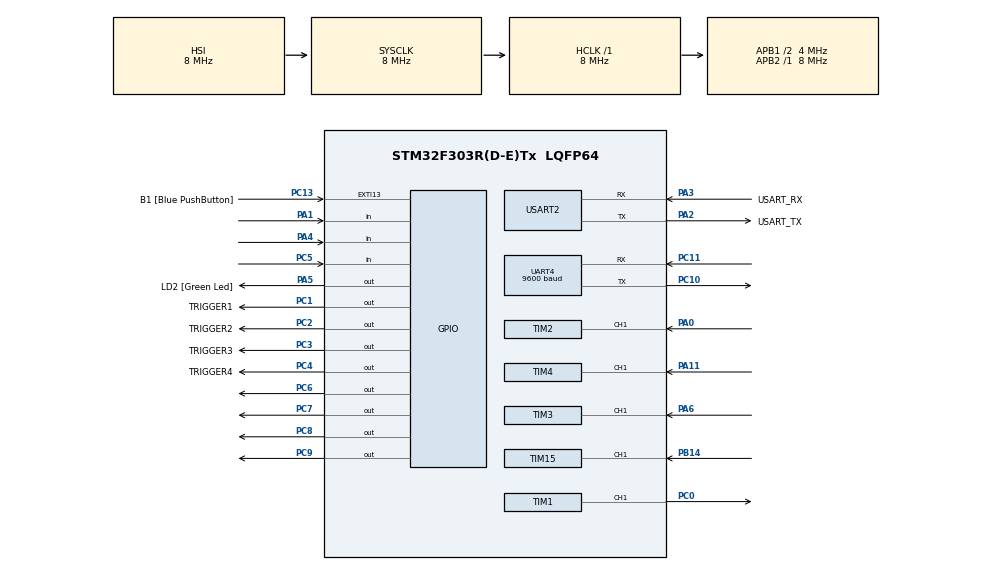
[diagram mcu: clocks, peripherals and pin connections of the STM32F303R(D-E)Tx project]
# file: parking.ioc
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Mcu.Family=STM32F3
Mcu.Name=STM32F303R(D-E)Tx
Mcu.Package=LQFP64
NVIC.PriorityGroup=NVIC_PRIORITYGROUP_0
NVIC.TIM1_BRK_TIM15_IRQn=true\:0\:0\:false\:false\:true\:true\:true\:true
NVIC.TIM2_IRQn=true\:0\:0\:false\:false\:true\:true\:true\:true
NVIC.TIM3_IRQn=true\:0\:0\:false\:false\:true\:true\:true\:true
NVIC.TIM4_IRQn=true\:0\:0\:false\:false\:true\:true\:true\:true
PA0.Signal=S_TIM2_CH1_ETR
PA1.Signal=GPIO_Input
PA11.Signal=S_TIM4_CH1
PA13.GPIO_Label=TMS
PA13.Mode=Serial_Wire
PA13.Signal=SYS_JTMS-SWDIO
PA14.GPIO_Label=TCK
PA14.Mode=Serial_Wire
PA14.Signal=SYS_JTCK-SWCLK
PA2.GPIO_Label=USART_TX
PA2.GPIO_Mode=GPIO_MODE_AF_PP
PA2.GPIO_PuPd=GPIO_NOPULL
PA2.GPIO_Speed=GPIO_SPEED_FREQ_LOW
PA2.Mode=Asynchronous
PA2.Signal=USART2_TX
PA3.GPIO_Label=USART_RX
PA3.GPIO_Mode=GPIO_MODE_AF_PP
PA3.GPIO_PuPd=GPIO_NOPULL
PA3.GPIO_Speed=GPIO_SPEED_FREQ_LOW
PA3.Mode=Asynchronous
PA3.Signal=USART2_RX
PA4.Signal=GPIO_Input
PA5.GPIO_Label=LD2 [Green Led]
PA5.GPIO_Mode=GPIO_MODE_OUTPUT_PP
PA5.GPIO_PuPd=GPIO_NOPULL
PA5.GPIO_Speed=GPIO_SPEED_FREQ_LOW
PA5.Signal=GPIO_Output
PA6.Signal=S_TIM3_CH1
PB14.Signal=S_TIM15_CH1
PB3.GPIO_Label=SWO
PB3.Signal=SYS_JTDO-TRACESWO
PC0.Signal=S_TIM1_CH1
PC1.GPIO_Label=TRIGGER1
PC1.Signal=GPIO_Output
PC10.Mode=Asynchronous
PC10.Signal=UART4_TX
PC11.Mode=Asynchronous
PC11.Signal=UART4_RX
PC13.GPIO_Label=B1 [Blue PushButton]
PC13.GPIO_ModeDefaultEXTI=GPIO_MODE_IT_FALLING
PC13.Signal=GPXTI13
PC14-OSC32_IN.Mode=LSE-External-Oscillator
PC14-OSC32_IN.Signal=RCC_OSC32_IN
PC15-OSC32_OUT.Mode=LSE-External-Oscillator
PC15-OSC32_OUT.Signal=RCC_OSC32_OUT
PC2.GPIO_Label=TRIGGER2
PC2.Signal=GPIO_Output
PC3.GPIO_Label=TRIGGER3
PC3.Signal=GPIO_Output
PC4.GPIO_Label=TRIGGER4
PC4.Signal=GPIO_Output
PC5.Signal=GPIO_Input
PC6.Signal=GPIO_Output
PC7.Signal=GPIO_Output
PC8.Signal=GPIO_Output
PC9.Signal=GPIO_Output
PF0-OSC_IN.Mode=HSE-External-Clock-Source
PF0-OSC_IN.Signal=RCC_OSC_IN
PF1-OSC_OUT.Signal=RCC_OSC_OUT
ProjectManager.HeapSize=0x200
ProjectManager.StackSize=0x400
ProjectManager.TargetToolchain=STM32CubeIDE
RCC.AHBFreq_Value=8000000
RCC.APB1CLKDivider=RCC_HCLK_DIV2
RCC.APB1Freq_Value=4000000
RCC.APB1TimFreq_Value=8000000
RCC.APB2Freq_Value=8000000
RCC.APB2TimFreq_Value=8000000
RCC.CortexFreq_Value=8000000
RCC.HCLKFreq_Value=8000000
RCC.HSE_VALUE=8000000
RCC.HSI_VALUE=8000000
RCC.PLLM=8
RCC.PLLMUL=RCC_PLL_MUL9
RCC.PLLN=336
RCC.PLLP=RCC_PLLP_DIV4
RCC.PLLQ=7
RCC.RCC_PLLsource_Clock_Source_FROM_HSE=RCC_HSE_PREDIV_DIV2
RCC.SYSCLKFreq_VALUE=8000000
RCC.USBFreq_Value=72000000
SH.S_TIM15_CH1.0=TIM15_CH1,Input_Capture1_from_TI1
SH.S_TIM1_CH1.0=TIM1_CH1,PWM Generation1 CH1
SH.S_TIM2_CH1_ETR.0=TIM2_CH1,Input_Capture1_from_TI1
SH.S_TIM3_CH1.0=TIM3_CH1,Input_Capture1_from_TI1
SH.S_TIM4_CH1.0=TIM4_CH1,Input_Capture1_from_TI1
TIM1.Channel-PWM\ Generation1\ CH1=TIM_CHANNEL_1
TIM1.OCFastMode_PWM-PWM\ Generation1\ CH1=TIM_OCFAST_ENABLE
TIM1.Period=100
TIM1.Prescaler=7
TIM1.Pulse-PWM\ Generation1\ CH1=20
TIM15.Channel-Input_Capture1_from_TI1=TIM_CHANNEL_1
TIM15.ICPolarity_CH1=TIM_INPUTCHANNELPOLARITY_BOTHEDGE
TIM15.Prescaler=7
TIM2.Channel-Input_Capture1_from_TI1=TIM_CHANNEL_1
TIM2.ICPolarity_CH1=TIM_INPUTCHANNELPOLARITY_BOTHEDGE
TIM2.Period=65535
TIM2.Prescaler=7
TIM3.Channel-Input_Capture1_from_TI1=TIM_CHANNEL_1
TIM3.ICPolarity_CH1=TIM_INPUTCHANNELPOLARITY_BOTHEDGE
TIM3.Prescaler=7
TIM4.Channel-Input_Capture1_from_TI1=TIM_CHANNEL_1
TIM4.ICPolarity_CH1=TIM_INPUTCHANNELPOLARITY_BOTHEDGE
TIM4.Prescaler=7
UART4.BaudRate=9600
UART4.OverSampling=UART_OVERSAMPLING_8
USART2.VirtualMode-Asynchronous=VM_ASYNC
VP_TIM15_VS_ClockSourceINT.Mode=Internal
VP_TIM1_VS_ClockSourceINT.Mode=Internal
VP_TIM2_VS_ClockSourceINT.Mode=Internal
VP_TIM3_VS_ClockSourceINT.Mode=Internal
VP_TIM4_VS_ClockSourceINT.Mode=Internal
board=NUCLEO-F303RE

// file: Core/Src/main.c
/* USER CODE BEGIN Header */
/**
 ******************************************************************************
 * @file           : main.c
 * @brief          : Main program body
 ******************************************************************************
 * @attention
 *
 * Copyright (c) 2023 STMicroelectronics.
 * All rights reserved.
 *
 * This software is licensed under terms that can be found in the LICENSE file
 * in the root directory of this software component.
 * If no LICENSE file comes with this software, it is provided AS-IS.
 *
 ******************************************************************************
 */
/* USER CODE END Header */
#include "main.h"
#include "tim.h"
#include "usart.h"
#include "gpio.h"

/* USER CODE BEGIN Includes */
#include "DC_MOTOR.h"
/* USER CODE END Includes */

void SystemClock_Config(void);

/* USER CODE BEGIN 0 */
uint8_t count[4];
uint16_t t1[4];
uint16_t t2[4];
uint16_t diff[4];
uint16_t d[4];
uint16_t trig_flag=0;
void HAL_TIM_IC_CaptureCallback(TIM_HandleTypeDef *htim)	// ISR for timer1
{
	//	HAL_GPIO_TogglePin(GPIOA, GPIO_PIN_5);
	if (htim->Instance == TIM2) {
		// Check if the callback is triggered by the correct timer (TIMx)
		if (htim->Channel == HAL_TIM_ACTIVE_CHANNEL_1) {
			// Check if the callback is triggered by the correct channel (x)
			if(count[0] == 0)
			{
				t1[0]=HAL_TIM_ReadCapturedValue(htim, TIM_CHANNEL_1);
				count[0]=1;
			}
			else if(count[0] == 1)
			{
				t2[0]=HAL_TIM_ReadCapturedValue(htim, TIM_CHANNEL_1);
				count[0]=0;
				if(t2[0]>t1[0])
				{
					diff[0]=t2[0]-t1[0];
				}
				else if(t1[0]>t2[0])
				{
					diff[0] = ((0xffff-t1[0])+t2[0])+1;
				}
				d[0]=diff[0]/58;
			}
			// Your code here for handling the IC event on the specified timer and channel
		}
	}
	else if (htim->Instance == TIM3) {
		// Check if the callback is triggered by the correct timer (TIMx)

		if (htim->Channel == HAL_TIM_ACTIVE_CHANNEL_1) {
			// Check if the callback is triggered by the correct channel (x)
			if(count[1] == 0)
			{
				t1[1]=HAL_TIM_ReadCapturedValue(htim, TIM_CHANNEL_1);
				count[1]=1;
			}
			else if(count[1] == 1)
			{
				t2[1]=HAL_TIM_ReadCapturedValue(htim, TIM_CHANNEL_1);
				count[1]=0;
				if(t2[1]>t1[1])
				{
					diff[1]=t2[1]-t1[1];
				}
				else if(t1[1]>t2[1])
				{
					diff[1] = ((0xffff-t1[1])+t2[1])+1;
				}
				d[1]=diff[1]/58;
			}
			// Your code here for handling the IC event on the specified timer and channel
		}
	}
	else if (htim->Instance == TIM4) {
		// Check if the callback is triggered by the correct timer (TIMx)
		HAL_GPIO_TogglePin(GPIOA, GPIO_PIN_5);
		if (htim->Channel == HAL_TIM_ACTIVE_CHANNEL_1) {
			// Check if the callback is triggered by the correct channel (x)
			if(count[2] == 0)
			{
				t1[2]=HAL_TIM_ReadCapturedValue(htim, TIM_CHANNEL_1);
				count[2]=1;
			}
			else if(count[2] == 1)
			{
				t2[2]=HAL_TIM_ReadCapturedValue(htim, TIM_CHANNEL_1);
				count[2]=0;
				if(t2[2]>t1[2])
				{
					diff[2]=t2[2]-t1[2];
				}
				else if(t1[2]>t2[2])
				{
					diff[2] = ((0xffff-t1[2])+t2[2])+1;
				}
				d[2]=diff[2]/58;
			}
			// Your code here for handling the IC event on the specified timer and channel
		}
	}
	else if (htim->Instance == TIM15) {
		// Check if the callback is triggered by the correct timer (TIMx)

		if (htim->Channel == HAL_TIM_ACTIVE_CHANNEL_1) {
			// Check if the callback is triggered by the correct channel (x)
			if(count[3] == 0)
			{
				t1[3]=HAL_TIM_ReadCapturedValue(htim, TIM_CHANNEL_1);
				count[3]=1;
			}
			else if(count[3] == 1)
			{
				t2[3]=HAL_TIM_ReadCapturedValue(htim, TIM_CHANNEL_1);
				count[3]=0;
				if(t2[3]>t1[3])
				{
					diff[3]=t2[3]-t1[3];
				}
				else if(t1[3]>t2[3])
				{
					diff[3] = ((0xffff-t1[3])+t2[3])+1;
				}
				d[3]=diff[3]/58;
			}
			// Your code here for handling the IC event on the specified timer and channel
		}
	}

	//	c++;
	//	HAL_GPIO_TogglePin(GPIOA, GPIO_PIN_5);
	//	if(count == 0)
	//	{
	//		t1=HAL_TIM_ReadCapturedValue(htim, TIM_CHANNEL_1);
	//		count=1;
	//	}
	//	else if(count == 1)
	//	{
	//		t2=HAL_TIM_ReadCapturedValue(htim, TIM_CHANNEL_1);
	//		count=0;
	//		if(t2>t1)
	//		{
	//			diff=t2-t1;
	//		}
	//		else if(t1>t2)
	//		{
	//			diff = ((0xffff-t1)+t2)+1;
	//		}
	//		d[3]=diff/58;
	//		//d[0]=diff/58;
	//		trig_flag++;
	//	}
}

void Ultrasonic_Runable(void)
{
	if(trig_flag==0)
	{
		HAL_GPIO_WritePin(TRIGGER1_GPIO_Port,TRIGGER1_Pin , GPIO_PIN_SET);
		HAL_Delay(1);
		HAL_GPIO_WritePin(TRIGGER1_GPIO_Port,TRIGGER1_Pin, GPIO_PIN_RESET);
		trig_flag=1;
	}
	else if(trig_flag==1)
	{
		HAL_GPIO_WritePin(TRIGGER2_GPIO_Port,TRIGGER2_Pin , GPIO_PIN_SET);
		HAL_Delay(1);
		HAL_GPIO_WritePin(TRIGGER2_GPIO_Port,TRIGGER2_Pin, GPIO_PIN_RESET);
		trig_flag=2;
	}
	else if(trig_flag==2)
	{
		HAL_GPIO_WritePin(TRIGGER3_GPIO_Port,TRIGGER3_Pin , GPIO_PIN_SET);
		HAL_Delay(1);
		HAL_GPIO_WritePin(TRIGGER3_GPIO_Port,TRIGGER3_Pin, GPIO_PIN_RESET);
		trig_flag=3;
	}
	else if(trig_flag==3)
	{
		HAL_GPIO_WritePin(TRIGGER4_GPIO_Port,TRIGGER4_Pin , GPIO_PIN_SET);
		HAL_Delay(1);
		HAL_GPIO_WritePin(TRIGGER4_GPIO_Port,TRIGGER4_Pin, GPIO_PIN_RESET);
		trig_flag=0;
	}
	HAL_Delay(15);
}
uint16_t Ultrasonic_Getter(uint8_t ultrasonic_N)
{
	if(ultrasonic_N<4)
	{
		return d[ultrasonic_N];
	}
	return 0;
}

void send_distance(void)
{
	uint8_t x10='1';
	HAL_UART_Transmit(&huart4,&x10,sizeof(x10),20);
	uint8_t x11='.';
	HAL_UART_Transmit(&huart4,&x11,sizeof(x11),20);
	uint16_t N=55;
	N=d[0];
	while(N)
	{
		uint8_t d=(N%10)+'0';
		HAL_UART_Transmit(&huart4, &d,sizeof(d),20);
		N=N/10;
	}
	uint8_t x='_';
	HAL_UART_Transmit(&huart4, &x,sizeof(x),20);
	/////////////////////////////////////
	uint8_t x2='2';
	HAL_UART_Transmit(&huart4,&x2,sizeof(x),20);
	uint8_t x3='.';
	HAL_UART_Transmit(&huart4,&x3,sizeof(x),20);
	uint16_t N1=55;
	N1=d[1];
	while(N1)
	{
		uint8_t d1=(N1%10)+'0';
		HAL_UART_Transmit(&huart4, &d1,sizeof(d1),20);
		N1=N1/10;
	}
	uint8_t x1='_';
	HAL_UART_Transmit(&huart4, &x1,sizeof(x),20);

	////////////////////////////////////////////////
	uint8_t x4='3';
	HAL_UART_Transmit(&huart4,&x4,sizeof(x),20);
	uint8_t x5='.';
	HAL_UART_Transmit(&huart4,&x5,sizeof(x),20);
	uint16_t N2=55;
	N2=d[2];
	while(N2)
	{
		uint8_t d2=(N2%10)+'0';
		HAL_UART_Transmit(&huart4, &d2,sizeof(d2),20);
		N2=N2/10;
	}
	HAL_UART_Transmit(&huart4, &x1,sizeof(x),20);
	////////////////////////////////////////////////
	uint8_t x6='4';
	HAL_UART_Transmit(&huart4,&x6,sizeof(x),20);
	uint8_t x7='.';
	HAL_UART_Transmit(&huart4,&x7,sizeof(x),20);
	uint16_t N3=55;
	N3=d[3];
	while(N3)
	{
		uint8_t d3=(N3%10)+'0';
		HAL_UART_Transmit(&huart4, &d3,sizeof(d3),20);
		N3=N3/10;
	}
	HAL_UART_Transmit(&huart4, &x1,sizeof(x),20);
	////////////////////////////////////////////////
}
uint8_t Data;
void control_car(void)
{
	if(Data == 'R'){
		Set_motor_RL_direction(Right);
	}else if(Data == 'L'){
		Set_motor_RL_direction(Left);
	}else if(Data == 'F'){
		Set_motor_FR_direction(Forward);
	}else if(Data == 'B'){
		Set_motor_FR_direction(Reverse);
	}else if(Data == 'G'){
		Set_motor_FR_direction(Forward);
		Set_motor_RL_direction(Left);
	}else if(Data == 'I'){
		Set_motor_FR_direction(Forward);
		Set_motor_RL_direction(Right);
	}else if(Data == 'H'){
		Set_motor_FR_direction(Reverse);
		Set_motor_RL_direction(Left);
	}else if(Data == 'J'){
		Set_motor_FR_direction(Reverse);
		Set_motor_RL_direction(Right);
	}
	else{
		Stop_motor_FR();
		Stop_motor_RL();
	}
}
uint8_t Mode_Flag=0;
void find_park(void)
{
	static uint8_t count=0;
	static uint8_t park_not_found=0;
	//	static uint8_t park_found=0;
	//	if((d[1]>=20)&&(d[2]>=20) )
	//	{
	//
	//		park_found=1;
	//		Set_pwm_duty_FR_motor(&htim1, TIM_CHANNEL_1, 40, 0.85);
	//
	//	}
	//	else if(park_found==1 && (d[1]<20) && (d[2]>20))
	//	{
	//
	//		park_not_found=1;
	//		Stop_motor_FR();
	//		Stop_motor_RL();
	//		Mode_Flag=2;
	//	}
	//	else if(park_not_found==0	||	(d[1]<20)	||	(d[2]<20)	)
	//	{
	//		park_not_found=1;
	//		Set_pwm_duty_FR_motor(&htim1, TIM_CHANNEL_1, 40, 0.96);
	//		Set_motor_FR_direction(Forward);
	//		HAL_Delay(5);
	//		Set_pwm_duty_FR_motor(&htim1, TIM_CHANNEL_1,40, 0.90);
	//	}
	if((d[1]>=20)&&(d[2]>=20))
	{
		count++;
	}
	else if(park_not_found==0	&&(	(d[1]<20)	||	(d[2]<20)	))
	{
		park_not_found=1;
		Set_pwm_duty_FR_motor(&htim1, TIM_CHANNEL_1, 100, 1);
		Set_motor_FR_direction(Forward);
		HAL_Delay(5);
		Set_pwm_duty_FR_motor(&htim1, TIM_CHANNEL_1,100, 0.93);
		count=0;
	}
	if(count>=50||(d[1]<=12&&count>5)) //45 is a good value //
	{
		//park_not_found=0;
		//HAL_Delay(120);
		Stop_motor_FR();
		Stop_motor_RL();
		Mode_Flag=2;
	}
}

void start_parking()
{
	static uint8_t phase=0;
	static  uint8_t TimerToStop=0;
	static  uint8_t t5mesa_timer=0;
	static  uint8_t IR_handle_flag=0;
	//static  uint8_t phase_6_time_out=0;
	static  uint8_t kareem_counter=0;
	static  uint8_t kareem_flag=0;

	TimerToStop++;
	if((HAL_GPIO_ReadPin(GPIOC, GPIO_PIN_5)==1))
	{
		IR_handle_flag=1;
	}
	if(TimerToStop>=60)
	{
		if(phase==0)
		{
			Set_motor_RL_direction(Right);
			Set_pwm_duty_FR_motor(&htim1, TIM_CHANNEL_1,100, 0.75);//795
			Set_motor_FR_direction(Reverse);
			phase=1;
		}
		else if(	( phase== 1 )   && (HAL_GPIO_ReadPin(GPIOC, GPIO_PIN_5)==0) && IR_handle_flag==1)
		{
			Stop_motor_FR();
			Stop_motor_RL();
			//Set_motor_FR_direction(Forward);
			phase=2;
		}
		else if(phase==2)
		{
			HAL_Delay(100);
			Set_motor_RL_direction(Right);
			HAL_Delay(50);
			Set_pwm_duty_FR_motor(&htim1, TIM_CHANNEL_1,100, 0.978);//0.98
			Set_motor_FR_direction(Forward);
			HAL_Delay(900);
			Stop_motor_FR();
			Stop_motor_RL();
			phase=3;
		}
		else if(phase==3)
		{
			HAL_Delay(100);
			Set_motor_RL_direction(Left);
			HAL_Delay(50);
			Set_pwm_duty_FR_motor(&htim1, TIM_CHANNEL_1,100, 0.83);
			Set_motor_FR_direction(Reverse);

			phase=4;
		}
		else if(phase==4&&((HAL_GPIO_ReadPin(GPIOA, GPIO_PIN_1)==0)||t5mesa_timer>=28))//35
		{
			Stop_motor_RL();
			Set_pwm_duty_FR_motor(&htim1, TIM_CHANNEL_1,100, 1);
			Set_motor_FR_direction(Forward);
			Set_motor_RL_direction(Right);
			HAL_Delay(150);
			Stop_motor_FR();
			Stop_motor_RL();
			phase=5;

		}
		else if(phase==4)
		{
			t5mesa_timer++;
		}
		else if(phase==5)
		{
			if(kareem_flag==0)
			{

				phase = 2 ;
				kareem_flag=1;
			}
			else if(kareem_counter !=1)
			{
				if(d[1]>8 && d[2]>8 )
				{
					phase =3;
					kareem_counter++;
				}
				else {
								phase=6;
					}
			}

			//			HAL_Delay(50);
			//			Set_pwm_duty_FR_motor(&htim1, TIM_CHANNEL_1,100, 0.94);
			//			Set_motor_RL_direction(Right);
			//			Set_motor_FR_direction(Forward);

		}
		else if(phase==6)//&&(phase_6_time_out>=20))
		{
			Stop_motor_FR();
			Stop_motor_RL();
			Mode_Flag=3;
		}
		//		else if(phase==6)
		//		{
		//			phase_6_time_out++;
		//		}
		TimerToStop=100;
	}

	//else if(phase==2)
	//{
	//	Set_motor_RL_direction(Left);
	//	Set_pwm_duty_FR_motor(&htim1, TIM_CHANNEL_1,40, 0.9);
	//	Set_motor_FR_direction(Reverse);
	//	phase=3;
	//	HAL_Delay(50);
	//}
	//else if(phase==3 && d[0]<16)
	//{
	//	Stop_motor_FR();
	//	Stop_motor_RL();
	//	phase=4;
	//}

}
void ta7deen(){
	while(d[1]>5 && d[2]>5){
		Ultrasonic_Runable();
		//phase 2  [right&forward]

		HAL_Delay(50);
		Set_motor_RL_direction(Right);
		HAL_Delay(50);
		Set_pwm_duty_FR_motor(&htim1, TIM_CHANNEL_1,100, 0.97);
		Set_motor_FR_direction(Forward);
		HAL_Delay(500);
		Stop_motor_FR();
		Stop_motor_RL();
		HAL_Delay(50);
		if(d[1]<=5 && d[2]<=5){
			break;
		}

	}
}

/* USER CODE END 0 */

int main(void)
{

	/* MCU Configuration--------------------------------------------------------*/

	/* Reset of all peripherals, Initializes the Flash interface and the Systick. */
	HAL_Init();

	/* Configure the system clock */
	SystemClock_Config();

	/* Initialize all configured peripherals */
	MX_GPIO_Init();
	MX_TIM1_Init();
	MX_TIM2_Init();
	MX_TIM3_Init();
	MX_TIM4_Init();
	MX_TIM15_Init();
	MX_UART4_Init();
	MX_USART2_UART_Init();
	/* USER CODE BEGIN 2 */
	HAL_TIM_IC_Start_IT(&htim2, TIM_CHANNEL_1);
	HAL_TIM_IC_Start_IT(&htim3, TIM_CHANNEL_1);
	HAL_TIM_IC_Start_IT(&htim4, TIM_CHANNEL_1);
	HAL_TIM_IC_Start_IT(&htim15, TIM_CHANNEL_1);

	/* USER CODE END 2 */

	/* Infinite loop */
	/* USER CODE BEGIN WHILE */
	Set_pwm_duty_FR_motor(&htim1, TIM_CHANNEL_1, 40, 1);
	//	Mode_Flag=2;
	while (1)
	{
		Ultrasonic_Runable();
		send_distance();
		//		uint8_t IR=HAL_GPIO_ReadPin(GPIOA, GPIO_PIN_1)+'0';
		//		HAL_UART_Transmit(&huart4,&IR,sizeof(IR),20);
		//		uint8_t IR=HAL_GPIO_ReadPin(GPIOA, GPIO_PIN_1)+'0';
		//		HAL_UART_Transmit(&huart4,&IR,sizeof(IR),20);
		HAL_UART_Receive(&huart4, &Data, sizeof(Data), 10);
		if(Data=='V')
		{
			//			Set_pwm_duty_FR_motor(&htim1, TIM_CHANNEL_1, 40, 0.93 );
			Mode_Flag=1;
		}
		else if(Data=='v')
		{
			Mode_Flag=0;
		}

		//-----------------------------------

		if(Mode_Flag==0)
		{
			control_car();
		}
		if(Mode_Flag==1)
		{
			find_park();
		}
		else if(Mode_Flag==2)
		{
			start_parking();

		}	/*else if(Mode_Flag==3)
		{
			ta7deen();
		}
		 */

		//HAL_Delay(1000);
		/* USER CODE END WHILE */

	}
}

void SystemClock_Config(void)
{
	RCC_OscInitTypeDef RCC_OscInitStruct = {0};
	RCC_ClkInitTypeDef RCC_ClkInitStruct = {0};
	RCC_PeriphCLKInitTypeDef PeriphClkInit = {0};

	/** Initializes the RCC Oscillators according to the specified parameters
	 * in the RCC_OscInitTypeDef structure.
	 */
	RCC_OscInitStruct.OscillatorType = RCC_OSCILLATORTYPE_HSI;
	RCC_OscInitStruct.HSIState = RCC_HSI_ON;
	RCC_OscInitStruct.HSICalibrationValue = RCC_HSICALIBRATION_DEFAULT;
	RCC_OscInitStruct.PLL.PLLState = RCC_PLL_NONE;
	if (HAL_RCC_OscConfig(&RCC_OscInitStruct) != HAL_OK)
	{
		Error_Handler();
	}

	/** Initializes the CPU, AHB and APB buses clocks
	 */
	RCC_ClkInitStruct.ClockType = RCC_CLOCKTYPE_HCLK|RCC_CLOCKTYPE_SYSCLK
			|RCC_CLOCKTYPE_PCLK1|RCC_CLOCKTYPE_PCLK2;
	RCC_ClkInitStruct.SYSCLKSource = RCC_SYSCLKSOURCE_HSI;
	RCC_ClkInitStruct.AHBCLKDivider = RCC_SYSCLK_DIV1;
	RCC_ClkInitStruct.APB1CLKDivider = RCC_HCLK_DIV2;
	RCC_ClkInitStruct.APB2CLKDivider = RCC_HCLK_DIV1;

	if (HAL_RCC_ClockConfig(&RCC_ClkInitStruct, FLASH_LATENCY_0) != HAL_OK)
	{
		Error_Handler();
	}
	PeriphClkInit.PeriphClockSelection = RCC_PERIPHCLK_USART2|RCC_PERIPHCLK_UART4
			|RCC_PERIPHCLK_TIM1|RCC_PERIPHCLK_TIM15
			|RCC_PERIPHCLK_TIM2|RCC_PERIPHCLK_TIM34;
	PeriphClkInit.Usart2ClockSelection = RCC_USART2CLKSOURCE_PCLK1;
	PeriphClkInit.Uart4ClockSelection = RCC_UART4CLKSOURCE_PCLK1;
	PeriphClkInit.Tim1ClockSelection = RCC_TIM1CLK_HCLK;
	PeriphClkInit.Tim15ClockSelection = RCC_TIM15CLK_HCLK;
	PeriphClkInit.Tim2ClockSelection = RCC_TIM2CLK_HCLK;
	PeriphClkInit.Tim34ClockSelection = RCC_TIM34CLK_HCLK;
	if (HAL_RCCEx_PeriphCLKConfig(&PeriphClkInit) != HAL_OK)
	{
		Error_Handler();
	}
}

void Error_Handler(void)
{
	__disable_irq();
	while (1)
	{
	}
}
